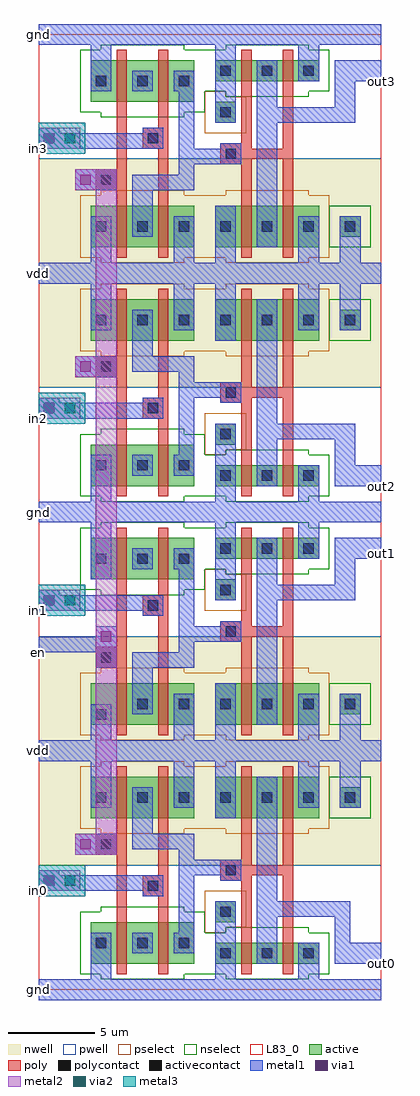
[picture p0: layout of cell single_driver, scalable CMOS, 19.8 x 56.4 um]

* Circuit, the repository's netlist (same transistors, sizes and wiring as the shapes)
.SUBCKT single_driver in0 in1 in2 in3 out0 out1 out2 out3 en vdd gnd
M3 gnd en in4 gnd n l=0.6u w=2.4u
M4 in4 in0 z0 gnd n l=0.6u w=2.4u
M5 vdd in0 z0 vdd p l=0.6u w=2.4u
M6 z0 en vdd vdd p l=0.6u w=2.4u
M7 gnd en in5 gnd n l=0.6u w=2.4u
M8 in5 in1 z1 gnd n l=0.6u w=2.4u
M9 vdd in1 z1 vdd p l=0.6u w=2.4u
M10 z1 en vdd vdd p l=0.6u w=2.4u
M11 gnd en in6 gnd n l=0.6u w=2.4u
M12 in6 in2 z2 gnd n l=0.6u w=2.4u
M13 vdd in2 z2 vdd p l=0.6u w=2.4u
M14 z2 en vdd vdd p l=0.6u w=2.4u
M15 gnd en in7 gnd n l=0.6u w=2.4u
M16 in7 in3 z3 gnd n l=0.6u w=2.4u
M17 vdd in3 z3 vdd p l=0.6u w=2.4u
M18 z3 en vdd vdd p l=0.6u w=2.4u
M19 out0 z0 gnd gnd n l=0.6u w=1.2u m=2
M20 out0 z0 vdd vdd p l=0.6u w=2.4u m=2
M21 out1 z1 gnd gnd n l=0.6u w=1.2u m=2
M22 out1 z1 vdd vdd p l=0.6u w=2.4u m=2
M23 out2 z2 gnd gnd n l=0.6u w=1.2u m=2
M24 out2 z2 vdd vdd p l=0.6u w=2.4u m=2
M25 out3 z3 gnd gnd n l=0.6u w=1.2u m=2
M26 out3 z3 vdd vdd p l=0.6u w=2.4u m=2
.ENDS wordline_driver

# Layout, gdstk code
import gdstk
lib = gdstk.Library(unit=1e-6, precision=1e-09)
def R(c, l, rs):  # rectangles x0, y0, x1, y1
    for r in rs: c.add(gdstk.rectangle(r[:2], r[2:], *l))
def A(c, l, x, y, w, h, nx, ny, dx, dy):  # array of equal rectangles
    R(c, l, [(x+i*dx, y+j*dy, x+i*dx+w, y+j*dy+h) for i in range(nx) for j in range(ny)])
pwell = (41, 0)
nwell = (42, 0)
active = (43, 0)
pselect = (44, 0)
nselect = (45, 0)
poly = (46, 0)
polycontact = (47, 0)
activecontact = (48, 0)
metal1 = (49, 0)
via1 = (50, 0)
metal2 = (51, 0)
via2 = (61, 0)
metal3 = (62, 0)
L83_0 = (83, 0)

single_driver = lib.new_cell('single_driver')
R(single_driver, pwell, [(0,-0.6,19.8,7.2), (0,20.4,19.8,34.8), (0,48,19.8,55.8)])
R(single_driver, nwell, [(0,7.2,19.8,20.4), (0,34.8,19.8,48)])
R(single_driver, active, [(3,1.5,9,3.9), (10.2,1.5,16.2,2.7), (10.2,3.9,11.4,5.1), (3,9.9,9,12.3), (10.2,9.9,16.2,12.3), (17.4,10.5,18.6,11.7), (3,15.3,9,17.7), (10.2,15.3,16.2,17.7), (17.4,15.9,18.6,17.1), (10.2,22.5,11.4,23.7), (3,23.7,9,26.1), (10.2,24.9,16.2,26.1), (3,29.1,9,31.5), (10.2,29.1,16.2,30.3), (10.2,31.5,11.4,32.7), (3,37.5,9,39.9), (10.2,37.5,16.2,39.9), (17.4,38.1,18.6,39.3), (3,42.9,9,45.3), (10.2,42.9,16.2,45.3), (17.4,43.5,18.6,44.7), (10.2,50.1,11.4,51.3), (3,51.3,9,53.7), (10.2,52.5,16.2,53.7)])
R(single_driver, pselect, [(9.6,3.3,10.8,3.6), (9.6,3.6,12,5.7), (3.6,9,8.4,9.3), (10.8,9,15.6,9.3), (2.4,9.3,16.8,12.9), (3.6,12.9,8.4,13.2), (10.8,12.9,15.6,13.2), (3.6,14.4,8.4,14.7), (10.8,14.4,15.6,14.7), (2.4,14.7,16.8,18.3), (3.6,18.3,8.4,18.6), (10.8,18.3,15.6,18.6), (9.6,21.9,12,24), (9.6,24,10.8,24.3), (9.6,30.9,10.8,31.2), (9.6,31.2,12,33.3), (3.6,36.6,8.4,36.9), (10.8,36.6,15.6,36.9), (2.4,36.9,16.8,40.5), (3.6,40.5,8.4,40.8), (10.8,40.5,15.6,40.8), (3.6,42,8.4,42.3), (10.8,42,15.6,42.3), (2.4,42.3,16.8,45.9), (3.6,45.9,8.4,46.2), (10.8,45.9,15.6,46.2), (9.6,49.5,12,51.6), (9.6,51.6,10.8,51.9)])
R(single_driver, nselect, [(3.6,0.6,8.4,0.9), (10.8,0.6,15.6,0.9), (2.4,0.9,16.8,3.3), (2.4,3.3,9.6,4.5), (10.8,3.3,15.6,3.6), (3.6,4.5,8.4,4.8), (16.8,9.9,19.2,12.3), (16.8,15.3,19.2,17.7), (3.6,22.8,8.4,23.1), (2.4,23.1,9.6,24.3), (10.8,24,15.6,24.3), (2.4,24.3,16.8,26.7), (3.6,26.7,8.4,27), (10.8,26.7,15.6,27), (3.6,28.2,8.4,28.5), (10.8,28.2,15.6,28.5), (2.4,28.5,16.8,30.9), (2.4,30.9,9.6,32.1), (10.8,30.9,15.6,31.2), (3.6,32.1,8.4,32.4), (16.8,37.5,19.2,39.9), (16.8,42.9,19.2,45.3), (3.6,50.4,8.4,50.7), (2.4,50.7,9.6,51.9), (10.8,51.6,15.6,51.9), (2.4,51.9,16.8,54.3), (3.6,54.3,8.4,54.6), (10.8,54.3,15.6,54.6)])
A(single_driver, poly, 10.5, 6.6, 4.2, 0.6, 1, 4, 0, 13.8)
R(single_driver, poly, [(4.5,0.9,5.1,7.8), (6.9,0.9,7.5,5.4), (11.7,0.9,12.3,6.3), (14.1,0.9,14.7,6.6), (6,5.4,7.5,6.6), (10.5,6.3,12.3,6.6), (6.9,6.6,7.5,12.9), (10.5,7.2,12.3,7.5), (14.1,7.2,14.7,12.9), (11.7,7.5,12.3,12.9), (3.3,7.8,5.1,9), (4.5,9,5.1,12.9), (4.5,14.7,5.1,18.6), (6.9,14.7,7.5,21.6), (11.7,14.7,12.3,20.1), (14.1,14.7,14.7,20.4), (3.3,18.6,5.1,19.8), (4.5,19.8,5.1,26.7), (10.5,20.1,12.3,20.4), (10.5,21,12.3,21.3), (14.1,21,14.7,26.7), (11.7,21.3,12.3,26.7), (6,21.6,7.5,22.8), (6.9,22.8,7.5,26.7), (4.5,28.5,5.1,35.4), (6.9,28.5,7.5,33), (11.7,28.5,12.3,33.9), (14.1,28.5,14.7,34.2), (6,33,7.5,34.2), (10.5,33.9,12.3,34.2), (6.9,34.2,7.5,40.5), (10.5,34.8,12.3,35.1), (14.1,34.8,14.7,40.5), (11.7,35.1,12.3,40.5), (3.3,35.4,5.1,36.6), (4.5,36.6,5.1,40.5), (4.5,42.3,5.1,46.2), (6.9,42.3,7.5,48.6), (11.7,42.3,12.3,47.7), (14.1,42.3,14.7,48), (3.3,46.2,5.1,47.4), (4.5,47.4,5.1,54.3), (10.5,47.7,12.3,48), (6,48.6,7.5,49.8), (10.5,48.6,12.3,48.9), (14.1,48.6,14.7,54.3), (11.7,48.9,12.3,54.3), (6.9,49.8,7.5,54.3)])
A(single_driver, polycontact, 10.8, 6.6, 0.6, 0.6, 1, 4, 0, 13.8)
R(single_driver, polycontact, [(6.3,5.7,6.9,6.3), (3.6,8.1,4.2,8.7), (3.6,18.9,4.2,19.5), (6.3,21.9,6.9,22.5), (6.3,33.3,6.9,33.9), (3.6,35.7,4.2,36.3), (3.6,46.5,4.2,47.1), (6.3,48.9,6.9,49.5)])
A(single_driver, activecontact, 10.5, 1.8, 0.6, 0.6, 3, 2, 2.4, 23.4)
A(single_driver, activecontact, 3.3, 2.4, 0.6, 0.6, 3, 2, 2.4, 22.2)
A(single_driver, activecontact, 3.3, 10.8, 0.6, 0.6, 7, 2, 2.4, 27.6)
A(single_driver, activecontact, 5.7, 16.2, 0.6, 0.6, 6, 1, 2.4, 0)
A(single_driver, activecontact, 10.5, 29.4, 0.6, 0.6, 3, 2, 2.4, 23.4)
A(single_driver, activecontact, 3.3, 30, 0.6, 0.6, 3, 2, 2.4, 22.2)
A(single_driver, activecontact, 3.3, 43.8, 0.6, 0.6, 7, 1, 2.4, 0)
R(single_driver, activecontact, [(10.5,4.2,11.1,4.8), (3.3,15.6,3.9,16.2), (10.5,22.8,11.1,23.4), (10.5,31.8,11.1,32.4), (10.5,50.4,11.1,51)])
A(single_driver, metal1, 0, -0.6, 19.8, 1.2, 1, 5, 0, 13.8)
R(single_driver, metal1, [(3,0.6,4.2,3.3), (10.2,0.6,11.4,5.1), (15,0.6,16.2,2.7), (12.6,1.5,13.8,4.2), (17.1,1.5,19.8,2.7), (5.4,2.1,6.6,3.3), (7.8,2.1,9,3.3), (17.1,2.7,18,4.2), (8.1,3.3,9,6.6), (12.6,4.2,18,5.1), (12.6,5.1,13.8,12.3), (6,5.4,7.2,5.7), (0,5.7,7.2,6.6), (10.5,6.3,11.7,6.6), (0,6.6,1.2,6.9), (8.1,6.6,11.7,7.5), (8.1,7.5,9,8.1), (2.1,7.8,4.5,9), (5.4,8.1,9,9), (5.4,9,6.6,11.7), (10.2,9.9,11.4,13.2), (3,10.5,4.2,13.2), (7.8,10.5,9,13.2), (15,10.5,16.2,13.2), (17.4,10.5,18.6,13.2), (3,14.4,4.2,16.5), (7.8,14.4,9,17.1), (10.2,14.4,11.4,17.7), (15,14.4,16.2,17.1), (17.4,14.4,18.6,17.1), (12.6,15.3,13.8,22.5), (5.4,15.9,6.6,18.6), (3.3,18.6,4.5,19.5), (5.4,18.6,9,19.5), (0,19.5,4.5,20.4), (8.1,19.5,9,20.1), (8.1,20.1,11.7,21), (3.3,20.4,4.5,21), (8.1,21,9,24.3), (10.5,21,11.7,21.3), (6,21.6,7.2,21.9), (0,21.9,7.2,22.8), (10.2,22.5,11.4,27), (12.6,22.5,18.3,23.4), (0,22.8,1.2,23.1), (12.6,23.4,13.8,26.1), (17.1,23.4,18.3,24.9), (3,23.7,4.2,27), (5.4,24.3,6.6,25.5), (7.8,24.3,9,25.5), (15,24.9,16.2,27), (17.1,24.9,19.8,26.1), (3,28.2,4.2,30.9), (10.2,28.2,11.4,32.7), (15,28.2,16.2,30.3), (12.6,29.1,13.8,31.8), (17.1,29.1,19.8,30.3), (5.4,29.7,6.6,30.9), (7.8,29.7,9,30.9), (17.1,30.3,18.3,31.8), (8.1,30.9,9,34.2), (12.6,31.8,18.3,32.7), (12.6,32.7,13.8,39.9), (0,33,7.2,33.9), (0,33.9,1.2,34.2), (6,33.9,7.2,34.2), (10.5,33.9,11.7,34.2), (8.1,34.2,11.7,35.1), (8.1,35.1,9,35.7), (2.1,35.4,4.5,36.6), (5.4,35.7,9,36.6), (5.4,36.6,6.6,39.3), (10.2,37.5,11.4,40.8), (3,38.1,4.2,40.8), (7.8,38.1,9,40.8), (15,38.1,16.2,40.8), (17.4,38.1,18.6,40.8), (3,42,4.2,44.7), (7.8,42,9,44.7), (10.2,42,11.4,45.3), (15,42,16.2,44.7), (17.4,42,18.6,44.7), (12.6,42.9,13.8,50.1), (5.4,43.5,6.6,46.2), (2.1,46.2,4.5,47.4), (5.4,46.2,9,47.1), (8.1,47.1,9,47.7), (8.1,47.7,11.7,48.6), (0,48.6,7.2,49.5), (8.1,48.6,9,51.9), (10.5,48.6,11.7,48.9), (0,49.5,1.2,49.8), (6,49.5,7.2,49.8), (10.2,50.1,11.4,54.6), (12.6,50.1,18.3,51), (12.6,51,13.8,53.7), (17.1,51,18.3,52.5), (3,51.9,4.2,54.6), (5.4,51.9,6.6,53.1), (7.8,51.9,9,53.1), (15,52.5,16.2,54.6), (17.1,52.5,19.8,53.7)])
R(single_driver, via1, [(0.3,6,0.9,6.6), (2.4,8.1,3,8.7), (3.6,20.1,4.2,20.7), (0.3,22.2,0.9,22.8), (0.3,33.3,0.9,33.9), (2.4,35.7,3,36.3), (2.4,46.5,3,47.1), (0.3,48.9,0.9,49.5)])
R(single_driver, metal2, [(0,5.7,2.4,6.9), (2.1,7.8,4.5,9), (3.3,9,4.5,35.4), (0,21.9,2.4,23.1), (0,33,2.4,34.2), (2.1,35.4,4.5,36.6), (3.3,36.6,4.5,46.2), (2.1,46.2,4.5,47.4), (0,48.6,2.4,49.8)])
R(single_driver, via2, [(1.5,6,2.1,6.6), (1.5,22.2,2.1,22.8), (1.5,33.3,2.1,33.9), (1.5,48.9,2.1,49.5)])
R(single_driver, metal3, [(0,5.4,2.7,7.2), (0,21.6,2.7,23.4), (0,32.7,2.7,34.5), (0,48.3,2.7,50.1)])
R(single_driver, L83_0, [(0,0,19.8,55.2)])
single_driver.add(gdstk.Label('in3', (0,48.6), layer=51, texttype=0))
single_driver.add(gdstk.Label('gnd', (0,55.2), layer=49, texttype=0))
single_driver.add(gdstk.Label('vdd', (0,41.4), layer=49, texttype=0))
single_driver.add(gdstk.Label('in2', (0,33), layer=51, texttype=0))
single_driver.add(gdstk.Label('vdd', (0,13.8), layer=49, texttype=0))
single_driver.add(gdstk.Label('in0', (0,5.7), layer=51, texttype=0))
single_driver.add(gdstk.Label('gnd', (0,0), layer=49, texttype=0))
single_driver.add(gdstk.Label('gnd', (0,27.6), layer=49, texttype=0))
single_driver.add(gdstk.Label('in1', (0,21.9), layer=51, texttype=0))
single_driver.add(gdstk.Label('en', (0,19.5), layer=49, texttype=0))
single_driver.add(gdstk.Label('out3', (19.8,52.5), layer=49, texttype=0))
single_driver.add(gdstk.Label('out1', (19.8,25.2), layer=49, texttype=0))
single_driver.add(gdstk.Label('out2', (19.8,29.1), layer=49, texttype=0))
single_driver.add(gdstk.Label('out0', (19.8,1.5), layer=49, texttype=0))

lib.write_gds('single_driver.gds')
